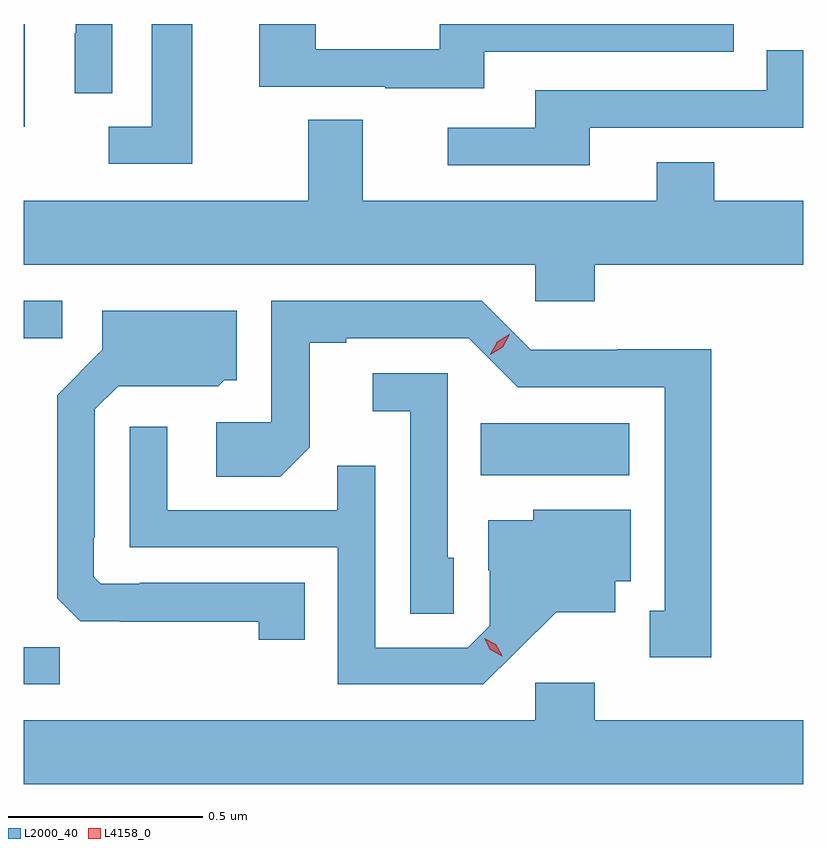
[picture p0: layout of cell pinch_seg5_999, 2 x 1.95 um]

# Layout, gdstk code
import gdstk
lib = gdstk.Library(unit=1e-6, precision=1e-09)
def R(c, l, rs):  # rectangles x0, y0, x1, y1
    for r in rs: c.add(gdstk.rectangle(r[:2], r[2:], *l))
def P(c, l, *ps):  # polygons
    for p in ps: c.add(gdstk.Polygon(p, *l))
L2000_40 = (2000, 40)
L4158_0 = (4158, 0)

pinch_seg5_999 = lib.new_cell('pinch_seg5_999')
R(pinch_seg5_999, L2000_40, [(743.587,908.964,743.679,909.059), (744.76,909.5,745.141,909.634), (743.587,909.852,743.686,909.948), (743.587,910.394,743.59,910.658)])
P(pinch_seg5_999, L2000_40, [(744.019,910.658),(743.915,910.658),(743.915,910.395),(743.805,910.395),(743.805,910.299),(744.019,910.299)],
  [(743.814,910.658),(743.72,910.658),(743.72,910.634),(743.718,910.634),(743.718,910.48),(743.814,910.48)],
  [(744.769,910.587),(745.409,910.587),(745.409,910.658),(744.654,910.658),(744.654,910.593),(744.336,910.593),(744.336,910.658),(744.191,910.658),(744.191,910.497),(744.515,910.497),(744.515,910.493),(744.769,910.493)],
  [(745.039,910.392),(745.587,910.392),(745.587,910.591),(745.494,910.591),(745.494,910.488),(744.899,910.488),(744.899,910.392),(744.675,910.392),(744.675,910.296),(745.039,910.296)],
  [(745.052,910.04),(745.587,910.04),(745.587,910.204),(745.359,910.204),(745.359,910.303),(745.211,910.303),(745.211,910.204),(744.457,910.204),(744.457,910.412),(744.317,910.412),(744.317,910.204),(743.587,910.204),(743.587,910.04),(744.9,910.04),(744.9,909.947),(745.052,909.947)],
  [(745.351,909.824),(745.11,909.824),(745.11,909.822),(744.888,909.822),(744.762,909.948),(744.222,909.948),(744.222,909.636),(744.081,909.636),(744.081,909.496),(744.245,909.496),(744.321,909.572),(744.321,909.84),(744.415,909.84),(744.415,909.852),(744.729,909.852),(744.855,909.726),(745.232,909.726),(745.232,909.153),(745.193,909.153),(745.193,909.033),(745.351,909.033)],
  [(744.308,909.225),(743.884,909.225),(743.884,909.222),(743.784,909.222),(743.766,909.24),(743.766,909.34),(743.769,909.34),(743.769,909.669),(743.829,909.729),(743.952,909.729),(743.952,909.728),(744.086,909.728),(744.102,909.744),(744.133,909.744),(744.133,909.922),(743.789,909.922),(743.789,909.822),(743.673,909.706),(743.673,909.184),(743.732,909.125),(743.833,909.125),(743.833,909.124),(744.19,909.124),(744.19,909.078),(744.308,909.078)],
  [(744.69,909.288),(744.675,909.288),(744.675,909.762),(744.483,909.762),(744.483,909.665),(744.579,909.665),(744.579,909.145),(744.69,909.145)],
  [(744.85,909.047),(744.953,909.149),(745.105,909.149),(745.105,909.228),(745.144,909.228),(745.144,909.412),(744.894,909.412),(744.894,909.385),(744.779,909.385),(744.779,909.256),(744.783,909.256),(744.783,909.114),(744.726,909.057),(744.489,909.057),(744.489,909.524),(744.391,909.524),(744.391,909.411),(743.955,909.411),(743.955,909.625),(743.859,909.625),(743.859,909.315),(744.393,909.315),(744.393,908.964),(744.766,908.964)],
  [(745.587,908.872),(745.052,908.872),(745.052,908.968),(744.9,908.968),(744.9,908.872),(743.587,908.872),(743.587,908.708),(745.587,908.708)])
P(pinch_seg5_999, L4158_0, [(744.784,909.81),(744.784,909.811),(744.802,909.843),(744.833,909.862),(744.834,909.862),(744.834,909.862),(744.816,909.829),(744.784,909.81)],
  [(744.815,909.036),(744.784,909.052),(744.768,909.082),(744.768,909.082),(744.768,909.082),(744.798,909.067),(744.815,909.037),(744.815,909.036)])

lib.write_gds('pinch_seg5_999.gds')
